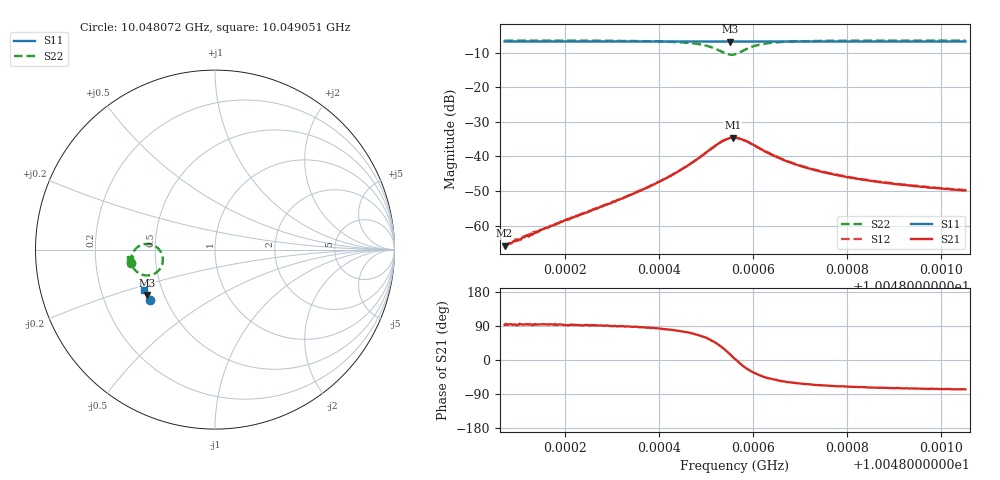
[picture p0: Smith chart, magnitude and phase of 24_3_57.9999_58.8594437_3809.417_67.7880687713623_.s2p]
#  HZ  S  RI  R  50.00
! Rohde & Schwarz Vector Network Analyzer
! Rohde-Schwarz,ZNB20-2Port,1311601062101988,3.16
! Created: UTC 3/21/2024, 12:51:19 AM
! freq[Hz]  re:S11  im:S11  re:S21  im:S21  re:S12  im:S12  re:S22  im:S22
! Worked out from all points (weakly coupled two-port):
!   401 points, 10.048072 GHz to 10.049051 GHz, reference 50 ohm
!   highest |S21| = -34.58 dB at 10.048557 GHz (marker M1); lowest = -65.8 dB at 10.048072 GHz (marker M2)
!   lowest |S11| = -6.8 dB at 10.048552 GHz (marker M3), VSWR 2.68, Z = 20.1 - j12.9 ohm
!   |S11| at or under -10 dB: nowhere
!   |S22| runs from -10.6 to -6.5 dB; largest |S21 - S12| = 0.0016
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1.00480719e10  -0.364 -0.2803  -2.82e-05 0.000514  -3.83e-05 0.000504  -0.4673 -0.0769
1.0048094e10  -0.3651 -0.2792  -4.18e-05 0.000609  -8.55e-05 0.000623  -0.4674 -0.0745
1.00481185e10  -0.3659 -0.2777  -4.48e-05 0.000715  -9.53e-05 0.000717  -0.4676 -0.072
1.00481527e10  -0.3674 -0.2759  -6.62e-05 0.000891  -0.00014 0.000904  -0.4677 -0.068
1.0048236e10  -0.3705 -0.2712  -3.81e-05 0.0015  -0.000122 0.00147  -0.4678 -0.057
1.00483266e10  -0.3739 -0.2662  7.79e-05 0.00255  -8.79e-05 0.00258  -0.4654 -0.0407
1.00484e10  -0.3765 -0.262  0.000506 0.00426  0.000316 0.00431  -0.4588 -0.0201
1.00484466e10  -0.3782 -0.259  0.00157 0.00622  0.00121 0.0063  -0.4459 0.000135
1.00484906e10  -0.3795 -0.2562  0.00463 0.00904  0.00413 0.0093  -0.4123 0.025
1.00485249e10  -0.3801 -0.254  0.0113 0.00999  0.0106 0.0107  -0.3479 0.0265
1.00485396e10  -0.3801 -0.2534  0.0153 0.00812  0.0147 0.00888  -0.3126 0.00261
1.00485518e10  -0.38 -0.253  0.0179 0.0045  0.0174 0.0057  -0.293 -0.0341
1.00485567e10  -0.3802 -0.2528  0.0185 0.00262  0.0183 0.00397  -0.2902 -0.0512
1.00485616e10  -0.3803 -0.2527  0.0186 0.0009  0.0184 0.00218  -0.2912 -0.0686
1.00485739e10  -0.3808 -0.2527  0.0176 -0.00326  0.0179 -0.00211  -0.3062 -0.1067
1.00485886e10  -0.3817 -0.2522  0.0148 -0.00661  0.0153 -0.00568  -0.3375 -0.1342
1.00486228e10  -0.3834 -0.2506  0.00862 -0.00846  0.00935 -0.00792  -0.3999 -0.1418
1.00486669e10  -0.3852 -0.248  0.00486 -0.00734  0.00535 -0.00712  -0.4364 -0.1228
1.00487257e10  -0.3874 -0.2445  0.00275 -0.00593  0.00317 -0.00579  -0.4547 -0.1016
1.00488114e10  -0.3905 -0.2397  0.00162 -0.00463  0.00189 -0.00456  -0.4642 -0.0817
1.00488897e10  -0.3932 -0.235  0.00112 -0.00393  0.00139 -0.00391  -0.4681 -0.0691
1.00490513e10  -0.3983 -0.2256  0.000712 -0.00318  0.000865 -0.00314  -0.4717 -0.0503
